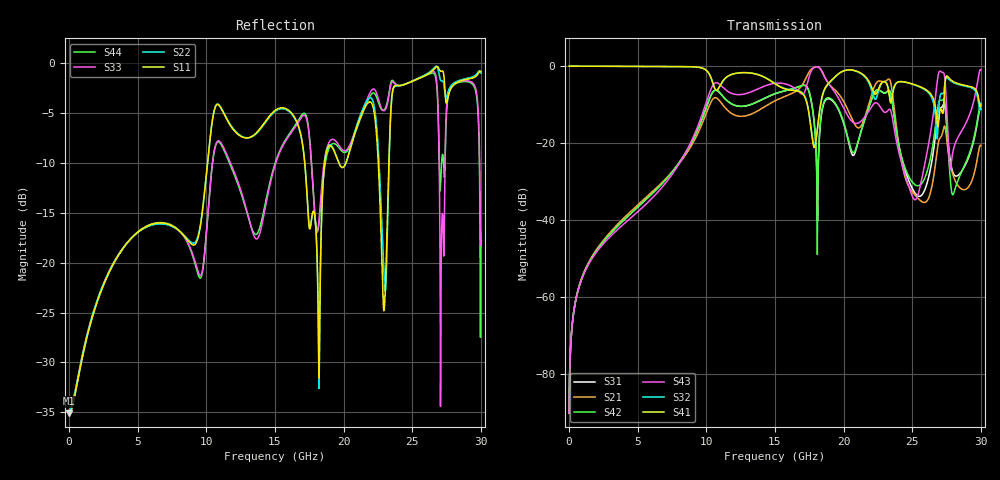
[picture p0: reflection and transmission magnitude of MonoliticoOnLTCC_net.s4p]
! S parameter file generated by ana
#  GHz  S  DB  R  50
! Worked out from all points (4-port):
!   2000 points, 15 MHz to 30 GHz, reference 50 ohm
!   strongest paths, dB at 15 MHz, 7.515 GHz, 15.02 GHz, 22.52 GHz, 30 GHz:
!     S41: 0.0, -0.1, -4.6, -6.2, -10.0
!     S32: 0.0, -0.1, -4.5, -6.8, -9.6
!     S43: -90.2, -28.1, -4.4, -9.8, -1.0
!     S42: -90.1, -27.5, -7.1, -6.2, -10.4
!     S21: -90.0, -27.5, -9.0, -3.9, -20.7
!     S31: -90.1, -27.5, -7.2, -6.1, -11.1
!   lowest |S11| = -35.1 dB at 15 MHz (marker M1), VSWR 1.04, Z = 48.3 - j0.0286 ohm
!   |S11| at or under -10 dB: start of sweep to 10.1 GHz; 17.17 GHz to 18.63 GHz (1.453 GHz wide, 8.11 % of centre); 22.53 GHz to 23.3 GHz (773.2 MHz wide, 3.37 % of centre)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
0.015  -35.09 -179.0  -89.98 61.0  -90.11 -119.1  -0.00 -0.4
       -89.98 61.0  -34.79 -179.1  -0.00 -0.4  -90.10 -119.0
       -90.11 -119.1  -0.00 -0.4  -34.78 -1.8  -90.21 61.0
       -0.00 -0.4  -90.10 -119.0  -90.21 61.0  -35.07 -1.8
6.285  -16.07 113.4  -31.92 -26.5  -32.33 105.1  -0.11 -173.0
       -31.92 -26.5  -16.16 113.7  -0.11 -172.6  -32.36 103.8
       -32.33 105.1  -0.11 -172.6  -16.13 81.4  -33.46 -123.1
       -0.11 -173.0  -32.36 103.8  -33.46 -123.1  -16.04 81.0
10.575  -4.81 119.0  -8.26 137.8  -6.37 -98.4  -5.37 46.0
        -8.26 137.8  -4.79 119.3  -5.40 46.3  -6.38 -98.5
        -6.37 -98.4  -5.40 46.3  -8.87 16.3  -4.54 24.5
        -5.37 46.0  -6.38 -98.5  -4.54 24.5  -8.92 15.7
19.605  -9.85 -99.4  -7.04 -91.1  -11.14 21.2  -2.06 -109.0
        -7.04 -91.1  -9.83 -99.5  -2.10 -107.7  -10.91 21.9
        -11.14 21.2  -2.10 -107.7  -8.14 107.9  -8.17 87.2
        -2.06 -109.0  -10.91 21.9  -8.17 87.2  -8.40 106.3
23.28  -11.01 -119.7  -3.35 118.5  -6.31 170.1  -6.49 93.1
       -3.35 118.5  -11.71 -138.2  -6.11 99.6  -6.47 167.2
       -6.31 170.1  -6.11 99.6  -3.50 -32.8  -11.30 -145.7
       -6.49 93.1  -6.47 167.2  -11.30 -145.7  -3.23 -33.6
25.2  -1.73 53.1  -33.49 -161.6  -32.96 70.7  -4.84 53.2
      -33.49 -161.6  -1.70 54.2  -4.91 54.8  -30.81 66.5
      -32.96 70.7  -4.91 54.8  -1.70 -124.7  -34.73 34.7
      -4.84 53.2  -30.81 66.5  -34.73 34.7  -1.73 -126.8
30  -0.89 -13.7  -20.67 -45.7  -11.14 108.9  -10.00 -45.8
    -20.67 -45.7  -1.02 -15.1  -9.57 -30.5  -10.44 93.1
    -11.14 108.9  -9.57 -30.5  -17.02 -143.3  -1.01 -111.3
    -10.00 -45.8  -10.44 93.1  -1.01 -111.3  -17.73 172.9
